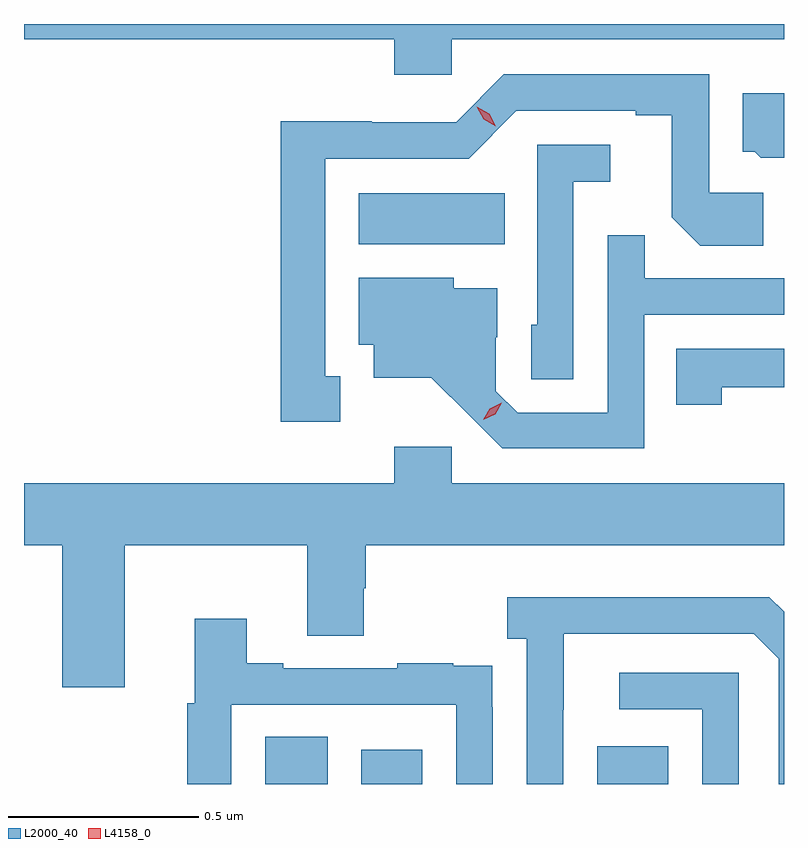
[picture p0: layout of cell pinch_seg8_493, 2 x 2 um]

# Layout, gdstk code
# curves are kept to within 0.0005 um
import gdstk
lib = gdstk.Library(unit=1e-6, precision=1e-09)
def R(c, l, rs):  # rectangles x0, y0, x1, y1
    for r in rs: c.add(gdstk.rectangle(r[:2], r[2:], *l))
def P(c, l, *ps):  # polygons
    for p in ps: c.add(gdstk.Polygon(p, *l))
L2000_40 = (2000, 40)
L4158_0 = (4158, 0)

pinch_seg8_493 = lib.new_cell('pinch_seg8_493')
R(pinch_seg8_493, L2000_40, [(177.53,1134.52,177.694,1134.644), (177.782,1134.52,177.943,1134.61), (178.403,1134.52,178.591,1134.619), (177.776,1135.94,178.16,1136.074)])
P(pinch_seg8_493, L2000_40, [(178.02,1136.48),(178.895,1136.48),(178.895,1136.52),(176.895,1136.52),(176.895,1136.48),(177.869,1136.48),(177.869,1136.387),(178.02,1136.387)],
  [(177.727,1135.593),(177.688,1135.593),(177.688,1136.166),(178.065,1136.166),(178.191,1136.292),(178.505,1136.292),(178.505,1136.28),(178.599,1136.28),(178.599,1136.012),(178.675,1135.936),(178.84,1135.936),(178.84,1136.076),(178.698,1136.076),(178.698,1136.388),(178.158,1136.388),(178.032,1136.262),(177.81,1136.262),(177.81,1136.264),(177.57,1136.264),(177.57,1135.473),(177.727,1135.473)],
  [(178.895,1136.338),(178.787,1136.338),(178.787,1136.184),(178.818,1136.184),(178.834,1136.168),(178.895,1136.168)],
  [(178.341,1136.105),(178.438,1136.105),(178.438,1136.202),(178.245,1136.202),(178.245,1135.728),(178.23,1135.728),(178.23,1135.585),(178.341,1135.585)],
  [(178.527,1135.755),(178.895,1135.755),(178.895,1135.851),(178.529,1135.851),(178.529,1135.964),(178.431,1135.964),(178.431,1135.497),(178.194,1135.497),(178.137,1135.554),(178.137,1135.696),(178.141,1135.696),(178.141,1135.825),(178.026,1135.825),(178.026,1135.852),(177.776,1135.852),(177.776,1135.676),(177.815,1135.676),(177.815,1135.589),(177.967,1135.589),(178.154,1135.404),(178.527,1135.404)],
  [(178.731,1135.564),(178.895,1135.564),(178.895,1135.665),(178.612,1135.665),(178.612,1135.518),(178.731,1135.518)],
  [(177.16,1135.148),(177.641,1135.148),(177.641,1134.91),(177.789,1134.91),(177.789,1135.035),(177.794,1135.035),(177.794,1135.148),(178.895,1135.148),(178.895,1135.312),(178.02,1135.312),(178.02,1135.408),(177.869,1135.408),(177.869,1135.312),(176.895,1135.312),(176.895,1135.148),(176.996,1135.148),(176.996,1134.774),(177.16,1134.774)],
  [(178.314,1134.715),(178.315,1134.715),(178.315,1134.915),(178.815,1134.915),(178.881,1134.849),(178.881,1134.52),(178.895,1134.52),(178.895,1134.973),(178.856,1135.012),(178.167,1135.012),(178.167,1134.902),(178.218,1134.902),(178.218,1134.52),(178.314,1134.52)],
  [(177.441,1134.729),(178.032,1134.729),(178.032,1134.52),(178.128,1134.52),(178.128,1134.722),(178.127,1134.722),(178.127,1134.831),(178.025,1134.831),(178.025,1134.838),(177.877,1134.838),(177.877,1134.825),(177.577,1134.825),(177.577,1134.838),(177.481,1134.838),(177.481,1134.955),(177.344,1134.955),(177.344,1134.732),(177.325,1134.732),(177.325,1134.52),(177.441,1134.52)],
  [(178.776,1134.813),(178.461,1134.813),(178.461,1134.717),(178.68,1134.717),(178.68,1134.52),(178.776,1134.52)])
P(pinch_seg8_493, L4158_0, [(178.103,1135.478),(178.103,1135.478),(178.121,1135.508),(178.152,1135.523),(178.152,1135.523),(178.152,1135.523),(178.135,1135.493),(178.104,1135.478)],
  [(178.136,1136.251),(178.105,1136.27),(178.087,1136.302),(178.087,1136.302),(178.087,1136.302),(178.119,1136.284),(178.136,1136.251),(178.136,1136.251)])

lib.write_gds('pinch_seg8_493.gds')
